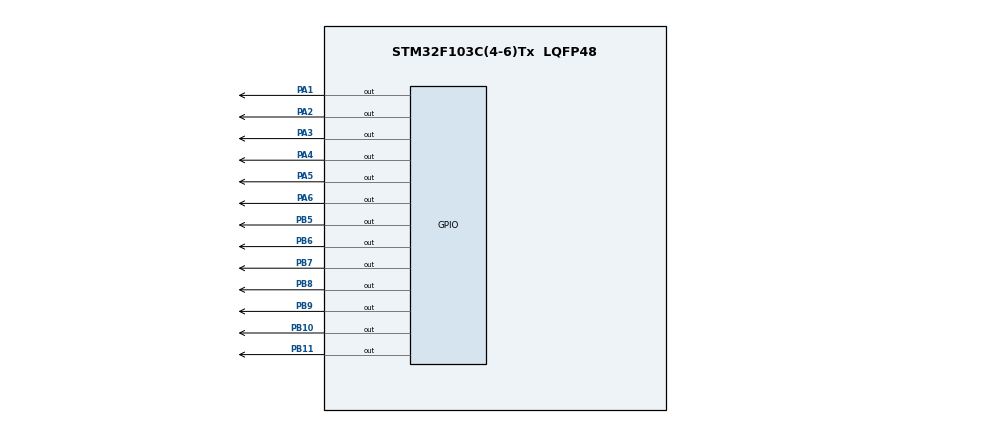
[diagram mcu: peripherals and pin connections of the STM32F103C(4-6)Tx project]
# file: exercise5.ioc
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Mcu.Family=STM32F1
Mcu.Name=STM32F103C(4-6)Tx
Mcu.Package=LQFP48
NVIC.PriorityGroup=NVIC_PRIORITYGROUP_4
PA1.Signal=GPIO_Output
PA2.Signal=GPIO_Output
PA3.Signal=GPIO_Output
PA4.Signal=GPIO_Output
PA5.Signal=GPIO_Output
PA6.Signal=GPIO_Output
PB10.Signal=GPIO_Output
PB11.Signal=GPIO_Output
PB5.Signal=GPIO_Output
PB6.Signal=GPIO_Output
PB7.Signal=GPIO_Output
PB8.Signal=GPIO_Output
PB9.Signal=GPIO_Output
PD0-OSC_IN.Mode=HSE-External-Oscillator
PD0-OSC_IN.Signal=RCC_OSC_IN
PD1-OSC_OUT.Mode=HSE-External-Oscillator
PD1-OSC_OUT.Signal=RCC_OSC_OUT
ProjectManager.HeapSize=0x200
ProjectManager.StackSize=0x400
ProjectManager.TargetToolchain=STM32CubeIDE
RCC.APB1Freq_Value=8000000
RCC.APB2Freq_Value=8000000
VP_SYS_VS_ND.Mode=No_Debug
board=custom

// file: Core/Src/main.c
/* USER CODE BEGIN Header */
/**
  ******************************************************************************
  * @file           : main.c
  * @brief          : Main program body
  ******************************************************************************
  * @attention
  *
  * <h2><center>&copy; Copyright (c) 2021 STMicroelectronics.
  * All rights reserved.</center></h2>
  *
  * This software component is licensed by ST under BSD 3-Clause license,
  * the "License"; You may not use this file except in compliance with the
  * License. You may obtain a copy of the License at:
  *                        opensource.org/licenses/BSD-3-Clause
  *
  ******************************************************************************
  */
/* USER CODE END Header */
#include "main.h"

void SystemClock_Config(void);
static void MX_GPIO_Init(void);

int main(void)
{

  /* MCU Configuration--------------------------------------------------------*/

  /* Reset of all peripherals, Initializes the Flash interface and the Systick. */
  HAL_Init();

  /* Configure the system clock */
  SystemClock_Config();

  /* Initialize all configured peripherals */
  MX_GPIO_Init();

  /* Infinite loop */
  /* USER CODE BEGIN WHILE */

  void display7SEG(int counter){
  	  switch(counter){
  	  case 0:
  		  HAL_GPIO_WritePin(GPIOB, GPIO_PIN_11, 1);
  		  HAL_GPIO_WritePin(GPIOB, GPIO_PIN_5|GPIO_PIN_6|GPIO_PIN_7|GPIO_PIN_8|GPIO_PIN_9|GPIO_PIN_10, 0);
  		  break;
  	  case 1:
  	  	HAL_GPIO_WritePin(GPIOB, GPIO_PIN_5|GPIO_PIN_8|GPIO_PIN_9|GPIO_PIN_10|GPIO_PIN_11, 1);
  	  	HAL_GPIO_WritePin(GPIOB, GPIO_PIN_6|GPIO_PIN_7, 0);
  	  	break;
  	  case 2:
  	  	HAL_GPIO_WritePin(GPIOB, GPIO_PIN_7|GPIO_PIN_10, 1);
  	  	HAL_GPIO_WritePin(GPIOB, GPIO_PIN_5|GPIO_PIN_6|GPIO_PIN_8|GPIO_PIN_8|GPIO_PIN_9|GPIO_PIN_11, 0);
  	  	break;
  	  case 3:
  	  	HAL_GPIO_WritePin(GPIOB, GPIO_PIN_9|GPIO_PIN_10, 1);
  	  	HAL_GPIO_WritePin(GPIOB, GPIO_PIN_5|GPIO_PIN_6|GPIO_PIN_7|GPIO_PIN_8|GPIO_PIN_11, 0);
  	  	break;
  	  case 4:
  	  	HAL_GPIO_WritePin(GPIOB, GPIO_PIN_5|GPIO_PIN_8|GPIO_PIN_9, 1);
  	  	HAL_GPIO_WritePin(GPIOB, GPIO_PIN_6|GPIO_PIN_7|GPIO_PIN_10|GPIO_PIN_11, 0);
  	  	break;
  	  case 5:
  	  	HAL_GPIO_WritePin(GPIOB, GPIO_PIN_6|GPIO_PIN_9, 1);
  	  	HAL_GPIO_WritePin(GPIOB, GPIO_PIN_5|GPIO_PIN_7|GPIO_PIN_8|GPIO_PIN_10|GPIO_PIN_11, 0);
  	  	break;
  	  case 6:
  	  	HAL_GPIO_WritePin(GPIOB, GPIO_PIN_6, 1);
  	  	HAL_GPIO_WritePin(GPIOB, GPIO_PIN_5|GPIO_PIN_7|GPIO_PIN_8|GPIO_PIN_9|GPIO_PIN_10|GPIO_PIN_11, 0);
  	  	break;
  	  case 7:
  	  	HAL_GPIO_WritePin(GPIOB, GPIO_PIN_8|GPIO_PIN_9|GPIO_PIN_10|GPIO_PIN_11, 1);
  	  	HAL_GPIO_WritePin(GPIOB, GPIO_PIN_5|GPIO_PIN_6|GPIO_PIN_7, 0);
  	  	break;
  	  case 8:
  	  	HAL_GPIO_WritePin(GPIOB, GPIO_PIN_5|GPIO_PIN_6|GPIO_PIN_7|GPIO_PIN_8|GPIO_PIN_9|GPIO_PIN_10|GPIO_PIN_11, 0);
  	  	break;
  	  case 9:
  	  	HAL_GPIO_WritePin(GPIOB, GPIO_PIN_9, 1);
  	  	HAL_GPIO_WritePin(GPIOB, GPIO_PIN_5|GPIO_PIN_6|GPIO_PIN_7|GPIO_PIN_8|GPIO_PIN_10|GPIO_PIN_11, 0);
  	  	break;
  	  }
    }

  int counter = 0;
  while (1)
  {
    /* USER CODE END WHILE */
	  HAL_GPIO_TogglePin(GPIOA, GPIO_PIN_5|GPIO_PIN_6); // turn off led yellow_1, turn off led green_1
	  	  HAL_GPIO_TogglePin(GPIOA, GPIO_PIN_1|GPIO_PIN_2);	// turn off led red_0, turn off led yellow_0
	  	  HAL_Delay(3000);

	  	  HAL_GPIO_TogglePin(GPIOA, GPIO_PIN_3|GPIO_PIN_2); // turn on led yellow_0, turn off led green_0
	  	  HAL_Delay(2000);

	  	  HAL_GPIO_TogglePin(GPIOA, GPIO_PIN_4|GPIO_PIN_6); // turn on led green_1, turn off led red_1
	  	  HAL_GPIO_TogglePin(GPIOA, GPIO_PIN_1|GPIO_PIN_2); // turn on led red_0, turn off led yellow_0
	  	  HAL_Delay(3000);

	  	  HAL_GPIO_TogglePin(GPIOA, GPIO_PIN_5|GPIO_PIN_6); // turn on led yellow_1, turn off led green_1
	  	  HAL_Delay(2000);

	  	  HAL_GPIO_TogglePin(GPIOA, GPIO_PIN_3|GPIO_PIN_2); // turn on led green_0, turn on led yellow_0
	  	  HAL_GPIO_TogglePin(GPIOA, GPIO_PIN_4|GPIO_PIN_6); // turn on led red_1, turn on led green_1

  }
}

void SystemClock_Config(void)
{
  RCC_OscInitTypeDef RCC_OscInitStruct = {0};
  RCC_ClkInitTypeDef RCC_ClkInitStruct = {0};

  /** Initializes the RCC Oscillators according to the specified parameters
  * in the RCC_OscInitTypeDef structure.
  */
  RCC_OscInitStruct.OscillatorType = RCC_OSCILLATORTYPE_HSI;
  RCC_OscInitStruct.HSIState = RCC_HSI_ON;
  RCC_OscInitStruct.HSICalibrationValue = RCC_HSICALIBRATION_DEFAULT;
  RCC_OscInitStruct.PLL.PLLState = RCC_PLL_NONE;
  if (HAL_RCC_OscConfig(&RCC_OscInitStruct) != HAL_OK)
  {
    Error_Handler();
  }
  /** Initializes the CPU, AHB and APB buses clocks
  */
  RCC_ClkInitStruct.ClockType = RCC_CLOCKTYPE_HCLK|RCC_CLOCKTYPE_SYSCLK
                              |RCC_CLOCKTYPE_PCLK1|RCC_CLOCKTYPE_PCLK2;
  RCC_ClkInitStruct.SYSCLKSource = RCC_SYSCLKSOURCE_HSI;
  RCC_ClkInitStruct.AHBCLKDivider = RCC_SYSCLK_DIV1;
  RCC_ClkInitStruct.APB1CLKDivider = RCC_HCLK_DIV1;
  RCC_ClkInitStruct.APB2CLKDivider = RCC_HCLK_DIV1;

  if (HAL_RCC_ClockConfig(&RCC_ClkInitStruct, FLASH_LATENCY_0) != HAL_OK)
  {
    Error_Handler();
  }
}

static void MX_GPIO_Init(void)
{
  GPIO_InitTypeDef GPIO_InitStruct = {0};

  /* GPIO Ports Clock Enable */
  __HAL_RCC_GPIOD_CLK_ENABLE();
  __HAL_RCC_GPIOB_CLK_ENABLE();

  /*Configure GPIO pin Output Level */
  HAL_GPIO_WritePin(GPIOB, GPIO_PIN_10|GPIO_PIN_11|GPIO_PIN_5|GPIO_PIN_6
                          |GPIO_PIN_7|GPIO_PIN_8|GPIO_PIN_9, GPIO_PIN_RESET);

  /*Configure GPIO pins : PB10 PB11 PB5 PB6
                           PB7 PB8 PB9 */
  GPIO_InitStruct.Pin = GPIO_PIN_10|GPIO_PIN_11|GPIO_PIN_5|GPIO_PIN_6
                          |GPIO_PIN_7|GPIO_PIN_8|GPIO_PIN_9;
  GPIO_InitStruct.Mode = GPIO_MODE_OUTPUT_PP;
  GPIO_InitStruct.Pull = GPIO_NOPULL;
  GPIO_InitStruct.Speed = GPIO_SPEED_FREQ_LOW;
  HAL_GPIO_Init(GPIOB, &GPIO_InitStruct);

}

void Error_Handler(void)
{
  __disable_irq();
  while (1)
  {
  }
}

/************************ (C) COPYRIGHT STMicroelectronics *****END OF FILE****/
